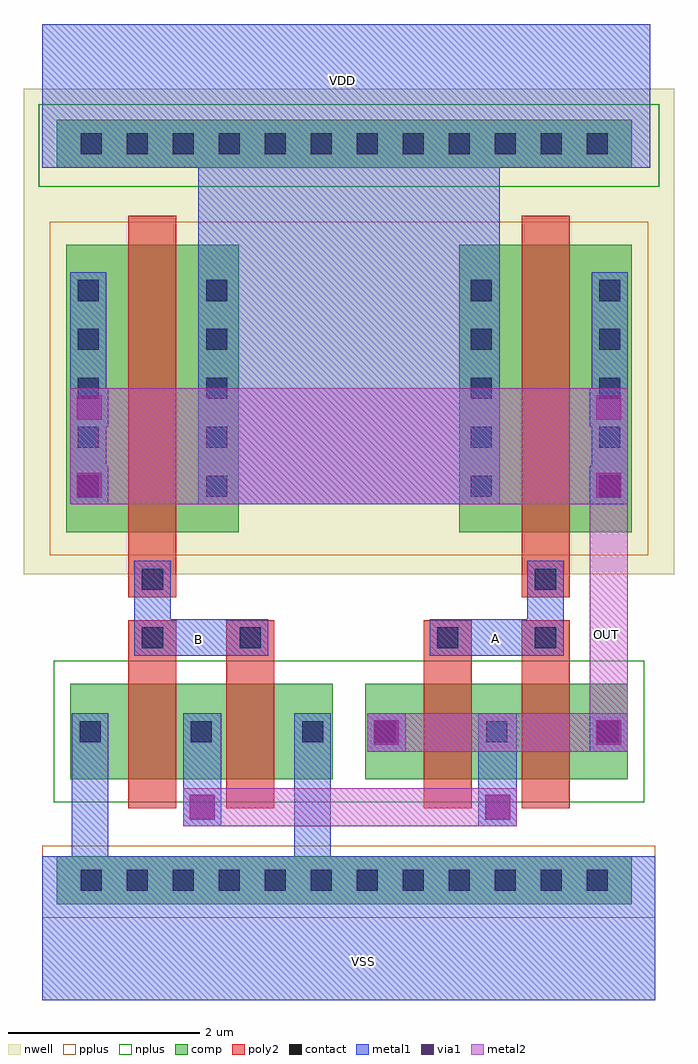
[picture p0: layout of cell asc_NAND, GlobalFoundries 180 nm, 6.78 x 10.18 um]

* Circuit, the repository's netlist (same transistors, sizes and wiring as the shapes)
** sch_path: /foss/designs/libs/core_analog/asc_NAND/asc_NAND.sch
.subckt asc_NAND VDD OUT A B VSS
*.PININFO VDD:B VSS:B B:B A:B OUT:B
M1 OUT A net1 VSS nfet_03v3 L=0.5u W=2u nf=2 m=1
M2 OUT A VDD VDD pfet_03v3 L=0.5u W=3u nf=1 m=1
M3 net1 B VSS VSS nfet_03v3 L=0.5u W=2u nf=2 m=1
M4 OUT B VDD VDD pfet_03v3 L=0.5u W=3u nf=1 m=1
.ends

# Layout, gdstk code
from math import pi, radians
import gdstk
lib = gdstk.Library(unit=1e-6, precision=5e-09)
def R(c, l, rs):  # rectangles x0, y0, x1, y1
    for r in rs: c.add(gdstk.rectangle(r[:2], r[2:], *l))
def A(c, l, x, y, w, h, nx, ny, dx, dy):  # array of equal rectangles
    R(c, l, [(x+i*dx, y+j*dy, x+i*dx+w, y+j*dy+h) for i in range(nx) for j in range(ny)])
nwell = (21, 0)
comp = (22, 0)
poly2 = (30, 0)
pplus = (31, 0)
nplus = (32, 0)
contact = (33, 0)
metal1 = (34, 0)
via1 = (35, 0)
metal2 = (36, 0)

via_dev_4 = lib.new_cell('via_dev$4')
R(via_dev_4, metal1, [(0,0,0.4,0.4)])
R(via_dev_4, via1, [(0.07,0.07,0.33,0.33)])
R(via_dev_4, metal2, [(0,0,0.4,0.4)])

via_dev_7 = lib.new_cell('via_dev$7')
R(via_dev_7, comp, [(0,0,6,0.5)])
A(via_dev_7, contact, 0.25, 0.14, 0.22, 0.22, 12, 1, 0.48, 0)
R(via_dev_7, metal1, [(0,0,6,0.5)])

pfet_1 = lib.new_cell('pfet$1')
R(pfet_1, nwell, [(-0.9,-0.44,1.78,3.44)])
R(pfet_1, comp, [(-0.46,0,0,3), (0,0,0.88,3), (0.88,0,1.34,3)])
R(pfet_1, poly2, [(0.19,-0.68,0.69,-0.3), (0.19,-0.3,0.69,3.3)])
R(pfet_1, pplus, [(-0.63,-0.24,1.51,3.24)])
A(pfet_1, contact, -0.34, 0.37, 0.22, 0.22, 1, 5, 0, 0.51)
A(pfet_1, contact, 1, 0.37, 0.22, 0.22, 1, 5, 0, 0.51)
R(pfet_1, contact, [(0.33,-0.6,0.55,-0.38)])
R(pfet_1, metal1, [(0.25,-0.68,0.63,-0.3), (-0.42,0.29,-0.04,2.71), (0.92,0.29,1.3,2.71)])

nfet = lib.new_cell('nfet')
R(nfet, comp, [(-0.42,0,0,1), (0,0,1.9,1), (1.9,0,2.32,1)])
R(nfet, poly2, [(0.19,-0.3,0.69,1.3), (1.21,-0.3,1.71,1.3), (0.19,1.3,0.69,1.66), (1.21,1.3,1.71,1.66)])
R(nfet, nplus, [(-0.59,-0.24,2.49,1.24)])
A(nfet, contact, -0.32, 0.39, 0.22, 0.22, 3, 1, 1.16, 0)
R(nfet, contact, [(0.33,1.37,0.55,1.59), (1.35,1.37,1.57,1.59)])
A(nfet, metal1, -0.4, 0.31, 0.38, 0.38, 3, 1, 1.16, 0)
R(nfet, metal1, [(0.25,1.29,0.63,1.67), (1.27,1.29,1.65,1.67)])

via_dev_2 = lib.new_cell('via_dev$2')

asc_nand = lib.new_cell('asc_NAND')
R(asc_nand, nwell, [(1.49,1.935,2.91,5.815), (-1.19,5.815,5.59,7)])
R(asc_nand, pplus, [(1.22,2.135,3.18,5.615)])
R(asc_nand, nplus, [(-1.035,5.975,5.435,6.84)])
R(asc_nand, metal1, [(-1,-2.505,5.395,-1.005), (-1,-1.505,-0.85,-1.005), (-0.69,-1.505,-0.31,0.485), (1.63,-1.505,2.01,0.485), (5.15,-1.505,5.395,-1.005), (0.47,-0.695,0.87,0.485), (3.55,-0.695,3.95,0.485), (-0.04,1.085,0.34,2.075), (-0.04,1.085,1.36,1.465), (3.04,1.085,4.44,1.465), (4.06,1.085,4.44,2.075), (0.63,2.665,3.77,6.175), (-1,6.175,-0.85,6.675), (-1,6.175,5.34,7.675), (5.15,6.175,5.34,6.675)])
R(asc_nand, metal2, [(0.47,-0.695,3.95,-0.295), (2.39,0.085,5.11,0.485), (4.71,0.085,5.11,3.875), (-0.71,2.665,-0.31,3.875), (-0.71,2.665,5.11,3.875)])
asc_nand.add(gdstk.FlexPath([(-1,-1.27),(5.395,-1.27)], 0.75, ends="flush", simple_path=True, layer=31, datatype=0))  # pplus
asc_nand.add(gdstk.Reference(via_dev_4, (-0.71,3.475)))
asc_nand.add(gdstk.Reference(via_dev_4, (-0.71,2.665)))
asc_nand.add(gdstk.Reference(via_dev_4, (3.55,-0.695)))
asc_nand.add(gdstk.Reference(via_dev_4, (4.71,3.475)))
asc_nand.add(gdstk.Reference(via_dev_4, (4.71,2.665)))
asc_nand.add(gdstk.Reference(via_dev_7, (-0.85,6.175)))
asc_nand.add(gdstk.Reference(via_dev_7, (-0.85,-1.505)))
asc_nand.add(gdstk.Reference(pfet_1, (3.81,2.375)))
asc_nand.add(gdstk.Reference(via_dev_4, (4.71,0.085)))
asc_nand.add(gdstk.Reference(via_dev_4, (2.39,0.085)))
asc_nand.add(gdstk.Reference(via_dev_4, (0.47,-0.695)))
asc_nand.add(gdstk.Reference(nfet, (-0.29,-0.205)))
asc_nand.add(gdstk.Reference(via_dev_2, (-1.65,-2.095), rotation=pi/2))
asc_nand.add(gdstk.Reference(nfet, (2.79,-0.205)))
asc_nand.add(gdstk.Reference(pfet_1, (-0.29,2.375)))
asc_nand.add(gdstk.Label('VDD', (2.13,7.085), layer=34, texttype=10))
asc_nand.add(gdstk.Label('VSS', (2.355,-2.1), layer=34, texttype=10))
asc_nand.add(gdstk.Label('A', (3.73,1.265), layer=34, texttype=10))
asc_nand.add(gdstk.Label('B', (0.635,1.26), layer=34, texttype=10))
asc_nand.add(gdstk.Label('OUT', (4.885,1.305), layer=36, texttype=10))

lib.write_gds('asc_NAND.gds')
